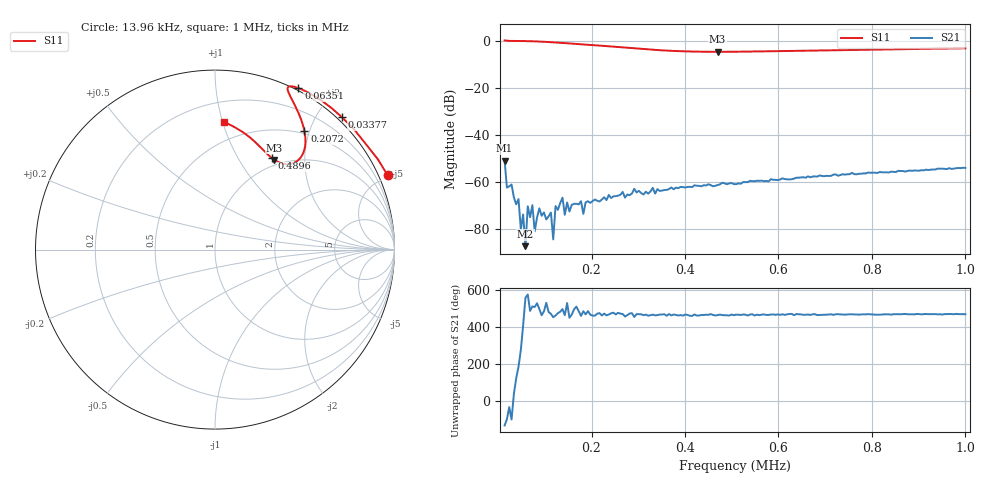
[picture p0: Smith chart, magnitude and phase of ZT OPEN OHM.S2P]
!Agilent Technologies,E5071C,MY46109397,A.09.54
!Date: Mon Jan 01 02:01:41 2001
!Data & Calibration Information:
!Freq	S11:SOLT1(ON)	S21:RESPT(ON)	S12:NONE(--)	S22:NONE(--)
# Hz S RI R 50
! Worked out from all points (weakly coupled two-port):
!   200 points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, 13.96 kHz to 1 MHz, reference 50 ohm
!   highest |S21| = -50.79 dB at 13.96 kHz (marker M1); lowest = -87.2 dB at 58.55 kHz (marker M2)
!   lowest |S11| = -4.4 dB at 469.8 kHz (marker M3), VSWR 4.00, Z = 45.9 + j71.7 ohm
!   |S11| at or under -10 dB: nowhere
!   S12 and S22 are empty: the file has one direction only
!   S11 on the Smith chart (normalised r, x): 13.96 kHz: -0.56, +4.78; 33.77 kHz: -0.07, +2.35; 63.51 kHz: -0.02, +1.64; 207.2 kHz: 0.46, +1.92; 489.6 kHz: 0.88, +1.41; 1 MHz: 0.35, +1.01
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13955  0.9615 0.4149  -0.00181 -0.00225  0 0  0 0
18910  0.9072 0.5035  -7.16e-05 -0.000767  0 0  0 0
33775  0.708 0.7369  0.000367 0.000304  0 0  0 0
58550  0.4896 0.8895  -4.14e-05 -1.34e-05  0 0  0 0
63505  0.4645 0.8999  -0.000252 -0.000177  0 0  0 0
73415  0.4299 0.9096  -0.000286 0.000155  0 0  0 0
78370  0.4188 0.9101  -7.61e-05 4.72e-05  0 0  0 0
88280  0.4066 0.9049  -0.000205 0.000187  0 0  0 0
113055  0.4124 0.8692  -8.29e-05 0.00021  0 0  0 0
118010  0.4167 0.8595  -3.37e-06 6.06e-05  0 0  0 0
122965  0.4219 0.8494  -6.6e-05 0.000304  0 0  0 0
137830  0.4385 0.8169  -0.000343 0.000319  0 0  0 0
142785  0.4443 0.8056  -4.93e-05 0.000196  0 0  0 0
182425  0.4834 0.7147  -0.000123 0.000173  0 0  0 0
207200  0.498 0.6611  -8.56e-05 0.00042  0 0  0 0
345940  0.4355 0.4815  -0.000195 0.000621  0 0  0 0
469815  0.3315 0.4999  -0.000225 0.000839  0 0  0 0
489635  0.3185 0.509  -0.000215 0.000881  0 0  0 0
509455  0.3065 0.5187  -0.00027 0.000869  0 0  0 0
672970  0.2247 0.5985  -0.000429 0.00125  0 0  0 0
836485  0.1433 0.6617  -0.000522 0.00153  0 0  0 0
1000000  0.0514 0.711  -0.000672 0.0019  0 0  0 0
